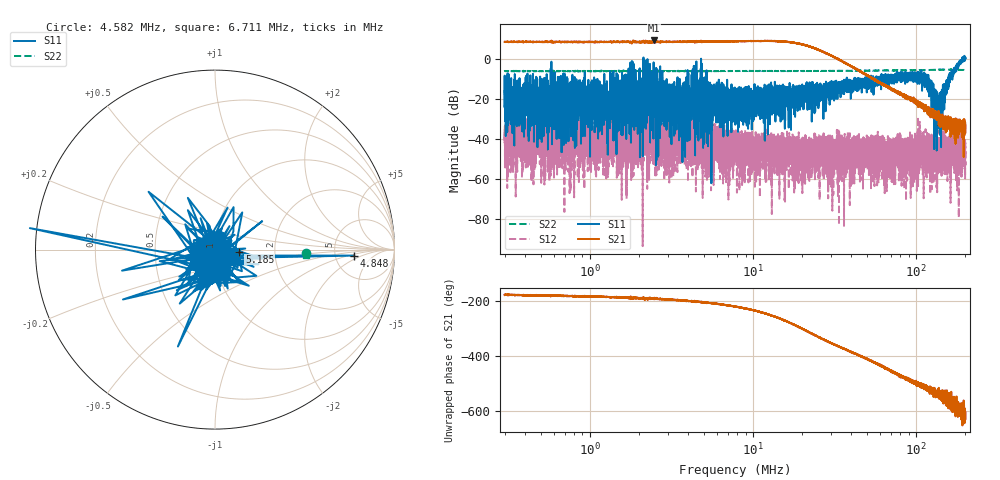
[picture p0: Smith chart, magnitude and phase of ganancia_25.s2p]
# Hz S DB R 50
! CMT, M5065, 19127446, 24.2.4/2
! Date: 11/1/2024 4:29:36 PM
! Data: Format (Calibration Info)
! Freq	S11:dB/Ang(F2)	S21:dB/Ang(F2)	S12:dB/Ang(F2)	S22:dB/Ang(F2)
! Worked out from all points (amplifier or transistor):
!   9000 points, 300 kHz to 200 MHz, reference 50 ohm
!   highest |S21| = 9.4 dB at 2.456 MHz (marker M1)
!   |S21| within 3 dB of that: start of sweep to 21.93 MHz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
!   unconditionally stable (mu >= 1): start of sweep to 2.128 MHz; 2.253 MHz to 4.797 MHz; 4.802 MHz to 190.6 MHz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
!   at 886.8 kHz: K = 15.59, MAG = 10.0 dB, |S12| = -41.2 dB
!   at 7.749 MHz: K = 18.16, MAG = 10.4 dB, |S12| = -43.0 dB
!   at 200 MHz: K = -322.00, MSG = 5.3 dB, |S12| = -43.5 dB
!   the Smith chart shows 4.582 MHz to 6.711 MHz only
!   S11 on the Smith chart (normalised r, x): 4.582 MHz: 0.82, -0.02; 4.848 MHz: 7.72, -1.30; 5.185 MHz: 1.32, -0.03; 6.711 MHz: 0.89, +0.11
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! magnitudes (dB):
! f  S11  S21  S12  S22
! 300 kHz  -23.9  8.7  -41.0  -5.9
! 322.2 kHz  -27.2  8.7  -36.8  -6.0
! 886.8 kHz  -24.4  8.6  -41.2  -5.8
! 1.409 MHz  -25.9  8.6  -40.0  -5.8
! 2.456 MHz  -1.5  9.4  -32.6  -5.9
! 2.621 MHz  -18.6  8.8  -40.4  -5.9
! 3.757 MHz  -36.4  8.7  -38.7  -5.8
! 4.285 MHz  -21.6  8.7  -35.6  -5.9
! 4.582 MHz  -20.1  8.8  -36.9  -5.9
! 4.848 MHz  -2.2  8.5  -54.3  -5.8
! 5.185 MHz  -17.3  8.8  -32.0  -5.9
! 5.466 MHz  -36.6  8.9  -36.2  -5.8
! 5.821 MHz  -17.3  8.9  -38.1  -5.8
! 6.711 MHz  -21.8  8.9  -39.1  -5.8
! 7.749 MHz  -19.6  9.1  -43.0  -5.9
! 22.91 MHz  -15.8  6.0  -46.7  -5.9
! 67.71 MHz  -9.2  -14.1  -58.6  -5.6
! 110.5 MHz  -8.4  -22.8  -47.8  -5.4
! 121.7 MHz  -12.2  -24.8  -47.9  -5.3
! 137.7 MHz  -25.1  -28.0  -43.7  -5.2
! 160.7 MHz  -10.1  -29.9  -42.1  -5.2
! 200 MHz  0.6  -33.0  -43.5  -5.3
